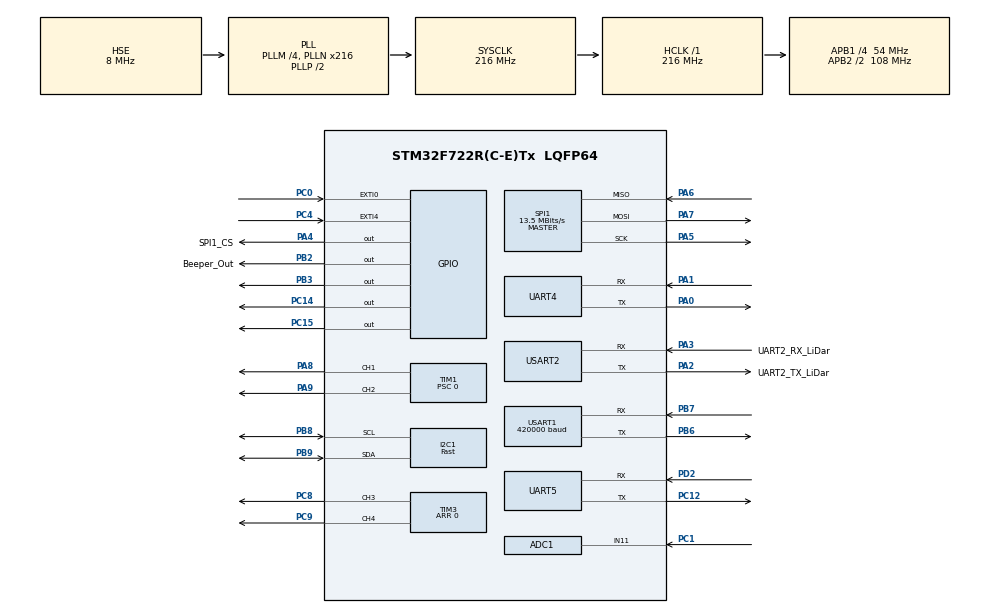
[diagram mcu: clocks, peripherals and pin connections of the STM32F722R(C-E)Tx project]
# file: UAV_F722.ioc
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ADC1.Channel-0\#ChannelRegularConversion=ADC_CHANNEL_11
ADC1.ContinuousConvMode=ENABLE
ADC1.EOCSelection=ADC_EOC_SEQ_CONV
ADC1.NbrOfConversion=1
ADC1.NbrOfConversionFlag=1
ADC1.Rank-0\#ChannelRegularConversion=1
ADC1.SamplingTime-0\#ChannelRegularConversion=ADC_SAMPLETIME_56CYCLES
ADC1.master=1
CORTEX_M7.default_mode_Activation=1
Dma.Request0=USART1_RX
Dma.Request1=TIM1_CH1
Dma.Request2=TIM1_CH2
Dma.Request3=TIM3_CH3
Dma.Request4=TIM3_CH4/UP
Dma.Request5=UART5_RX
Dma.Request6=USART2_RX
Dma.Request7=USART2_TX
Dma.TIM1_CH1.1.Direction=DMA_MEMORY_TO_PERIPH
Dma.TIM1_CH1.1.FIFOMode=DMA_FIFOMODE_ENABLE
Dma.TIM1_CH1.1.FIFOThreshold=DMA_FIFO_THRESHOLD_1QUARTERFULL
Dma.TIM1_CH1.1.Instance=DMA2_Stream1
Dma.TIM1_CH1.1.MemBurst=DMA_MBURST_SINGLE
Dma.TIM1_CH1.1.MemDataAlignment=DMA_MDATAALIGN_WORD
Dma.TIM1_CH1.1.MemInc=DMA_MINC_ENABLE
Dma.TIM1_CH1.1.Mode=DMA_NORMAL
Dma.TIM1_CH1.1.PeriphBurst=DMA_PBURST_SINGLE
Dma.TIM1_CH1.1.PeriphDataAlignment=DMA_PDATAALIGN_WORD
Dma.TIM1_CH1.1.PeriphInc=DMA_PINC_DISABLE
Dma.TIM1_CH1.1.Priority=DMA_PRIORITY_VERY_HIGH
Dma.TIM1_CH2.2.Direction=DMA_MEMORY_TO_PERIPH
Dma.TIM1_CH2.2.FIFOMode=DMA_FIFOMODE_ENABLE
Dma.TIM1_CH2.2.FIFOThreshold=DMA_FIFO_THRESHOLD_1QUARTERFULL
Dma.TIM1_CH2.2.Instance=DMA2_Stream2
Dma.TIM1_CH2.2.MemBurst=DMA_MBURST_SINGLE
Dma.TIM1_CH2.2.MemDataAlignment=DMA_MDATAALIGN_WORD
Dma.TIM1_CH2.2.MemInc=DMA_MINC_ENABLE
Dma.TIM1_CH2.2.Mode=DMA_NORMAL
Dma.TIM1_CH2.2.PeriphBurst=DMA_PBURST_SINGLE
Dma.TIM1_CH2.2.PeriphDataAlignment=DMA_PDATAALIGN_WORD
Dma.TIM1_CH2.2.PeriphInc=DMA_PINC_DISABLE
Dma.TIM1_CH2.2.Priority=DMA_PRIORITY_VERY_HIGH
Dma.TIM3_CH3.3.Direction=DMA_MEMORY_TO_PERIPH
Dma.TIM3_CH3.3.FIFOMode=DMA_FIFOMODE_ENABLE
Dma.TIM3_CH3.3.FIFOThreshold=DMA_FIFO_THRESHOLD_1QUARTERFULL
Dma.TIM3_CH3.3.Instance=DMA1_Stream7
Dma.TIM3_CH3.3.MemBurst=DMA_MBURST_SINGLE
Dma.TIM3_CH3.3.MemDataAlignment=DMA_MDATAALIGN_WORD
Dma.TIM3_CH3.3.MemInc=DMA_MINC_ENABLE
Dma.TIM3_CH3.3.Mode=DMA_NORMAL
Dma.TIM3_CH3.3.PeriphBurst=DMA_PBURST_SINGLE
Dma.TIM3_CH3.3.PeriphDataAlignment=DMA_PDATAALIGN_WORD
Dma.TIM3_CH3.3.PeriphInc=DMA_PINC_DISABLE
Dma.TIM3_CH3.3.Priority=DMA_PRIORITY_VERY_HIGH
Dma.TIM3_CH4/UP.4.Direction=DMA_MEMORY_TO_PERIPH
Dma.TIM3_CH4/UP.4.FIFOMode=DMA_FIFOMODE_ENABLE
Dma.TIM3_CH4/UP.4.FIFOThreshold=DMA_FIFO_THRESHOLD_1QUARTERFULL
Dma.TIM3_CH4/UP.4.Instance=DMA1_Stream2
Dma.TIM3_CH4/UP.4.MemBurst=DMA_MBURST_SINGLE
Dma.TIM3_CH4/UP.4.MemDataAlignment=DMA_MDATAALIGN_WORD
Dma.TIM3_CH4/UP.4.MemInc=DMA_MINC_ENABLE
Dma.TIM3_CH4/UP.4.Mode=DMA_NORMAL
Dma.TIM3_CH4/UP.4.PeriphBurst=DMA_PBURST_SINGLE
Dma.TIM3_CH4/UP.4.PeriphDataAlignment=DMA_PDATAALIGN_WORD
Dma.TIM3_CH4/UP.4.PeriphInc=DMA_PINC_DISABLE
Dma.TIM3_CH4/UP.4.Priority=DMA_PRIORITY_VERY_HIGH
Dma.UART5_RX.5.Direction=DMA_PERIPH_TO_MEMORY
Dma.UART5_RX.5.FIFOMode=DMA_FIFOMODE_DISABLE
Dma.UART5_RX.5.Instance=DMA1_Stream0
Dma.UART5_RX.5.MemDataAlignment=DMA_MDATAALIGN_BYTE
Dma.UART5_RX.5.MemInc=DMA_MINC_ENABLE
Dma.UART5_RX.5.Mode=DMA_NORMAL
Dma.UART5_RX.5.PeriphDataAlignment=DMA_PDATAALIGN_BYTE
Dma.UART5_RX.5.PeriphInc=DMA_PINC_DISABLE
Dma.UART5_RX.5.Priority=DMA_PRIORITY_MEDIUM
Dma.USART1_RX.0.Direction=DMA_PERIPH_TO_MEMORY
Dma.USART1_RX.0.FIFOMode=DMA_FIFOMODE_DISABLE
Dma.USART1_RX.0.Instance=DMA2_Stream5
Dma.USART1_RX.0.MemDataAlignment=DMA_MDATAALIGN_BYTE
Dma.USART1_RX.0.MemInc=DMA_MINC_ENABLE
Dma.USART1_RX.0.Mode=DMA_NORMAL
Dma.USART1_RX.0.PeriphDataAlignment=DMA_PDATAALIGN_BYTE
Dma.USART1_RX.0.PeriphInc=DMA_PINC_DISABLE
Dma.USART1_RX.0.Priority=DMA_PRIORITY_VERY_HIGH
Dma.USART2_RX.6.Direction=DMA_PERIPH_TO_MEMORY
Dma.USART2_RX.6.FIFOMode=DMA_FIFOMODE_DISABLE
Dma.USART2_RX.6.Instance=DMA1_Stream5
Dma.USART2_RX.6.MemDataAlignment=DMA_MDATAALIGN_BYTE
Dma.USART2_RX.6.MemInc=DMA_MINC_ENABLE
Dma.USART2_RX.6.Mode=DMA_NORMAL
Dma.USART2_RX.6.PeriphDataAlignment=DMA_PDATAALIGN_BYTE
Dma.USART2_RX.6.PeriphInc=DMA_PINC_DISABLE
Dma.USART2_RX.6.Priority=DMA_PRIORITY_HIGH
Dma.USART2_TX.7.Direction=DMA_MEMORY_TO_PERIPH
Dma.USART2_TX.7.FIFOMode=DMA_FIFOMODE_DISABLE
Dma.USART2_TX.7.Instance=DMA1_Stream6
Dma.USART2_TX.7.MemDataAlignment=DMA_MDATAALIGN_BYTE
Dma.USART2_TX.7.MemInc=DMA_MINC_ENABLE
Dma.USART2_TX.7.Mode=DMA_NORMAL
Dma.USART2_TX.7.PeriphDataAlignment=DMA_PDATAALIGN_BYTE
Dma.USART2_TX.7.PeriphInc=DMA_PINC_DISABLE
Dma.USART2_TX.7.Priority=DMA_PRIORITY_HIGH
I2C1.I2C_Speed_Mode=I2C_Fast
I2C1.NoStretchMode=I2C_NOSTRETCH_DISABLE
I2C1.Speed=400
I2C1.Timing=0x6000030D
Mcu.Family=STM32F7
Mcu.Name=STM32F722R(C-E)Tx
Mcu.Package=LQFP64
NVIC.ADC_IRQn=true\:3\:0\:true\:false\:true\:true\:true\:true
NVIC.DMA1_Stream0_IRQn=true\:0\:0\:false\:false\:true\:false\:true\:true
NVIC.DMA1_Stream2_IRQn=true\:1\:0\:true\:false\:true\:false\:true\:true
NVIC.DMA1_Stream5_IRQn=true\:2\:0\:true\:false\:true\:false\:true\:true
NVIC.DMA1_Stream6_IRQn=true\:2\:0\:true\:false\:true\:false\:true\:true
NVIC.DMA1_Stream7_IRQn=true\:1\:0\:true\:false\:true\:false\:true\:true
NVIC.DMA2_Stream1_IRQn=true\:1\:0\:true\:false\:true\:false\:true\:true
NVIC.DMA2_Stream2_IRQn=true\:1\:0\:true\:false\:true\:false\:true\:true
NVIC.DMA2_Stream5_IRQn=true\:0\:0\:true\:false\:true\:false\:true\:true
NVIC.EXTI0_IRQn=true\:2\:0\:true\:false\:true\:true\:true\:true
NVIC.EXTI4_IRQn=true\:2\:0\:true\:false\:true\:true\:true\:true
NVIC.PriorityGroup=NVIC_PRIORITYGROUP_4
NVIC.TIM7_IRQn=true\:3\:0\:true\:false\:true\:true\:true\:true
NVIC.UART4_IRQn=true\:3\:0\:true\:false\:true\:true\:true\:true
NVIC.UART5_IRQn=true\:2\:0\:true\:false\:true\:true\:true\:true
NVIC.USART1_IRQn=true\:0\:0\:true\:false\:true\:true\:true\:true
NVIC.USART2_IRQn=true\:2\:0\:true\:false\:true\:true\:true\:true
PA0-WKUP.Mode=Asynchronous
PA0-WKUP.Signal=UART4_TX
PA1.Mode=Asynchronous
PA1.Signal=UART4_RX
PA2.GPIO_Label=UART2_TX_LiDar
PA2.Mode=Asynchronous
PA2.Signal=USART2_TX
PA3.GPIO_Label=UART2_RX_LiDar
PA3.Mode=Asynchronous
PA3.Signal=USART2_RX
PA4.GPIO_Label=SPI1_CS
PA4.GPIO_Speed=GPIO_SPEED_FREQ_VERY_HIGH
PA4.PinState=GPIO_PIN_SET
PA4.Signal=GPIO_Output
PA5.Mode=Full_Duplex_Master
PA5.Signal=SPI1_SCK
PA6.Mode=Full_Duplex_Master
PA6.Signal=SPI1_MISO
PA7.Mode=Full_Duplex_Master
PA7.Signal=SPI1_MOSI
PA8.Signal=S_TIM1_CH1
PA9.Signal=S_TIM1_CH2
PB2.GPIO_Label=Beeper_Out
PB2.Signal=GPIO_Output
PB3.Signal=GPIO_Output
PB6.Mode=Asynchronous
PB6.Signal=USART1_TX
PB7.Mode=Asynchronous
PB7.Signal=USART1_RX
PB8.Mode=I2C
PB8.Signal=I2C1_SCL
PB9.Mode=I2C
PB9.Signal=I2C1_SDA
PC0.GPIO_ModeDefaultEXTI=GPIO_MODE_IT_FALLING
PC0.Signal=GPXTI0
PC1.Signal=ADCx_IN11
PC12.Mode=Asynchronous
PC12.Signal=UART5_TX
PC14-OSC32_IN.PinState=GPIO_PIN_SET
PC14-OSC32_IN.Signal=GPIO_Output
PC15-OSC32_OUT.PinState=GPIO_PIN_SET
PC15-OSC32_OUT.Signal=GPIO_Output
PC4.GPIO_ModeDefaultEXTI=GPIO_MODE_IT_FALLING
PC4.Signal=GPXTI4
PC8.Signal=S_TIM3_CH3
PC9.Signal=S_TIM3_CH4
PD2.Mode=Asynchronous
PD2.Signal=UART5_RX
PH0-OSC_IN.Mode=HSE-External-Oscillator
PH0-OSC_IN.Signal=RCC_OSC_IN
PH1-OSC_OUT.Mode=HSE-External-Oscillator
PH1-OSC_OUT.Signal=RCC_OSC_OUT
ProjectManager.HeapSize=0x200
ProjectManager.StackSize=0x400
ProjectManager.TargetToolchain=STM32CubeIDE
RCC.AHBFreq_Value=216000000
RCC.APB1CLKDivider=RCC_HCLK_DIV4
RCC.APB1Freq_Value=54000000
RCC.APB1TimFreq_Value=108000000
RCC.APB2CLKDivider=RCC_HCLK_DIV2
RCC.APB2Freq_Value=108000000
RCC.APB2TimFreq_Value=216000000
RCC.CortexFreq_Value=216000000
RCC.HCLKFreq_Value=216000000
RCC.HSE_VALUE=8000000
RCC.HSI_VALUE=16000000
RCC.LSE_VALUE=32768
RCC.PLLM=4
RCC.PLLN=216
RCC.PLLQ=9
RCC.PLLSAIN=96
RCC.PLLSAIP=RCC_PLLSAIP_DIV4
RCC.PLLSourceVirtual=RCC_PLLSOURCE_HSE
RCC.SYSCLKFreq_VALUE=216000000
RCC.SYSCLKSource=RCC_SYSCLKSOURCE_PLLCLK
RCC.USBFreq_Value=48000000
RCC.VCOOutputFreq_Value=432000000
SH.ADCx_IN11.0=ADC1_IN11,IN11
SH.S_TIM1_CH1.0=TIM1_CH1,PWM Generation1 CH1
SH.S_TIM1_CH2.0=TIM1_CH2,PWM Generation2 CH2
SH.S_TIM3_CH3.0=TIM3_CH3,PWM Generation3 CH3
SH.S_TIM3_CH4.0=TIM3_CH4,PWM Generation4 CH4
SPI1.BaudRatePrescaler=SPI_BAUDRATEPRESCALER_8
SPI1.CLKPhase=SPI_PHASE_1EDGE
SPI1.CLKPolarity=SPI_POLARITY_LOW
SPI1.CalculateBaudRate=13.5 MBits/s
SPI1.DataSize=SPI_DATASIZE_8BIT
SPI1.Direction=SPI_DIRECTION_2LINES
SPI1.FirstBit=SPI_FIRSTBIT_MSB
SPI1.Mode=SPI_MODE_MASTER
SPI1.NSSPMode=SPI_NSS_PULSE_ENABLE
SPI1.VirtualType=VM_MASTER
TIM1.Channel-PWM\ Generation1\ CH1=TIM_CHANNEL_1
TIM1.Channel-PWM\ Generation2\ CH2=TIM_CHANNEL_2
TIM1.Period=0
TIM1.Prescaler=0
TIM3.Channel-PWM\ Generation3\ CH3=TIM_CHANNEL_3
TIM3.Channel-PWM\ Generation4\ CH4=TIM_CHANNEL_4
TIM3.Period=0
TIM6.Prescaler=108-1
TIM7.Period=125-1
TIM7.Prescaler=108-1
TIM7.TIM_MasterOutputTrigger=TIM_TRGO_ENABLE
USART1.BaudRate=420000
USART1.VirtualMode-Asynchronous=VM_ASYNC
USART2.VirtualMode-Asynchronous=VM_ASYNC
VP_TIM6_VS_ClockSourceINT.Mode=Enable_Timer
VP_TIM7_VS_ClockSourceINT.Mode=Enable_Timer
board=custom

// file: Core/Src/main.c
/* USER CODE BEGIN Header */
/**
  ******************************************************************************
  * @file           : main.c
  * @brief          : Main program body
  ******************************************************************************
  * @attention
  *
  * Copyright (c) 2024 STMicroelectronics.
  * All rights reserved.
  *
  * This software is licensed under terms that can be found in the LICENSE file
  * in the root directory of this software component.
  * If no LICENSE file comes with this software, it is provided AS-IS.
  *
  ******************************************************************************
  */

/* USER CODE END Header */
#include "main.h"
#include "adc.h"
#include "dma.h"
#include "i2c.h"
#include "spi.h"
#include "tim.h"
#include "usart.h"
#include "gpio.h"

/* USER CODE BEGIN Includes */
#include "flight/Flight_System.h"
#include "ICM42688P.h"
#include "sensors/SensorsCalibration.h"
#include "stdbool.h"
#include "string.h"
#include "PID.h"
#include "sensors/BMP280.h"
#include "flight/defines.h"
#include "sensors/adc.h"
#include "flight/ResourceDefine.h"
#include "flash/Flash_Sector_F4.h"
#include "sensors/opFlow.h"

#include "flight/init.h"
//#include "usbd_cdc_if.h"
/* USER CODE END Includes */

/* USER CODE BEGIN PV */
//System
enum System_Mode System;

//IMU
ICM42688_AccData_t ACC;
ICM42688_GyroData_t Gyro;
int Cali_count=1; //IMU Clibration
bool imuCalibration = false;

bool New_IMU_DATA = 0; //flag for IMU data handling
uint8_t IMU_SPI_Buffer[12];

//Barometer
Baro_HandleTypedef BMP280;

//PID

/*Angle Mode*/
PID_Variables Pitch_Angle_PID;
PID_Variables Pitch_Rate_PID;
PID_Variables Roll_Angle_PID;
PID_Variables Roll_Rate_PID;
PID_Variables Yaw_PID;

/*Alititude Mode*/
Altitude_Data_t ALT;
PID_Variables Altitude_PID;
PID_Variables AltVelo_PID;

//PID output definition
float Pitch_CMD = 0;
float Roll_CMD = 0;
float Yaw_CMD = 0;
float Alt_Throttle = 0;

//Motor Control Variables
uint16_t motor_cmd[4]={0,0,0,0};
uint16_t Throttle;
float Pitch_Setpoint;
float Roll_Setpoint;
float Yaw_Angle_Setpoint;
float Yaw_Rate_Setpoint;
float altVelo_Setpoint;

float altCommand = 0;

/* USER CODE END PV */

void SystemClock_Config(void);
static void MPU_Config(void);
/* USER CODE BEGIN PFP */
void PROCCESS_PID(void);

float ct =0 ;
float pt = 0;
float dt = 0;

/* Use RxEventCallBack so there is idle detection feature */
void HAL_UARTEx_RxEventCallback(UART_HandleTypeDef *huart, uint16_t Size)
{
	//Receiver RX
    if (huart->Instance == USART1)
    {
    	ct = TIM6_GetTick();
    	dt = ct-pt;
    	pt=ct;

    	processRX();

	    /* Clear Interrupt Flag */
	    __HAL_UART_CLEAR_FLAG(&huart1, UART_FLAG_TC);

	    /* start the DMA again */
		HAL_UARTEx_ReceiveToIdle_DMA(&huart1, rx.rxChannel.uartWorkingBuffer, sizeof(rx.rxChannel.uartWorkingBuffer));
		Disable_Uart1_Half_Callback();
    }

    //Flow RX
    if(huart->Instance == USART2)
    {
    	opFlow_Data_Process();
    	__HAL_UART_CLEAR_FLAG(&huart2, UART_FLAG_TC);
    }

    //LiDar RX
    if(huart->Instance == UART4)
    {
    	RF_DataProcess();
    	HAL_UARTEx_ReceiveToIdle_DMA(&RangeFinderBusType, RangeFinder.LiDar.tfminiUartBuffer, sizeof(RangeFinder.LiDar.tfminiUartBuffer));
    	__HAL_UART_CLEAR_FLAG(&RangeFinderBusType, UART_FLAG_TC);
    }

    //GPS RX
    if (huart->Instance == UART5)
    {
    	GNSS_ParseBuffer(&gps);

	    /* Clear Interrupt Flag */
	    __HAL_UART_CLEAR_FLAG(&huart5, UART_FLAG_TC);

	    /* start the DMA again */
		HAL_UARTEx_ReceiveToIdle_DMA(&huart5, gps.uartWorkingBuffer, 100);
	    Disable_Uart5_Half_Callback();

    }
}

/* Uart1 Error Handler */
void HAL_UART_ErrorCallback(UART_HandleTypeDef *huart)
{
    if (huart->Instance == USART1)
    {
        // Handle the error condition
        __HAL_UART_CLEAR_FLAG(&huart1, UART_FLAG_ORE | UART_FLAG_NE | UART_FLAG_FE); //clear error flag
		HAL_UARTEx_ReceiveToIdle_DMA(&huart1, rx.rxChannel.uartWorkingBuffer, sizeof(rx.rxChannel.uartWorkingBuffer));
    }
    if (huart->Instance == USART2)
    {
        __HAL_UART_CLEAR_FLAG(&huart2, UART_FLAG_ORE | UART_FLAG_NE | UART_FLAG_FE); //clear error flag
    	HAL_UARTEx_ReceiveToIdle_DMA(opFlow.mtf02.huart, opFlow.mtf02.MTF_UartWorkingBuffer, sizeof(opFlow.mtf02.MTF_UartWorkingBuffer));
    }
    if (huart->Instance == UART4)
    {
        __HAL_UART_CLEAR_FLAG(&huart4, UART_FLAG_ORE | UART_FLAG_NE | UART_FLAG_FE); //clear error flag
    	HAL_UARTEx_ReceiveToIdle_DMA(&RangeFinderBusType, RangeFinder.LiDar.tfminiUartBuffer, sizeof(RangeFinder.LiDar.tfminiUartBuffer));
    }

    if (huart->Instance == UART5)
    {
        // Handle the error condition
        __HAL_UART_CLEAR_FLAG(&huart5, UART_FLAG_ORE | UART_FLAG_NE | UART_FLAG_FE); //clear error flag
    	HAL_UARTEx_ReceiveToIdle_DMA(&huart5, gps.uartWorkingBuffer, 100);
    }
}

Batt_Type batt;

// Callback function for ADC
void HAL_ADC_ConvCpltCallback(ADC_HandleTypeDef *hadc)
{
  if (hadc->Instance == ADC1)
  {
    uint32_t adc_value = HAL_ADC_GetValue(hadc);
    // Do something with adc_value
    batt = GetBatteryType(getBatteryVoltage(adc_value));

  }
}

//Timer Interrupt
void HAL_TIM_PeriodElapsedCallback(TIM_HandleTypeDef *htim)
{

	//double check with timer 7
	if(htim->Instance == TIM7) //Currently this timer interrupt runs at 8kHz
	{

	}
}

/* Callback function for GPIO EXTI */
void HAL_GPIO_EXTI_Callback(uint16_t GPIO_Pin)
{
    if (GPIO_Pin == imuDataReadyPin)
    {
    	//default disarmed
    	sysHealth.ARMED = false;
    	//check calibration and system mode
    	if((imuCalibration == false)&&(MagisCalibrating == false))
    	{
    		sysHealth.ARMED = ArmingHandle (rx.rxChannel.mapped_Channel); //arming flag
			System = System_Mode_Handle(rx.rxChannel.mapped_Channel);
			/*-------System Algorithm-------*/
			switch(System)
			{
			case AngleMode:
				// Read IMU data
				ICM42688_ReadAccelGyroData(&ACC,&Gyro);
				Accel_Angle_Convert(&ACC);
				Gyro_Angle_Convert(&Gyro);
				imuAttitude(Gyro.dt, Gyro.PT2_X, Gyro.PT2_Y, Gyro.PT2_Z, ACC.x, ACC.y, ACC.z, ACC.Magnitude,sysHealth.ARMED);
				ICM42688_GetVelocity(&ACC);
				Altitude_Rate_Data_Fusion(&ALT, &ACC, &BMP280, Process_BMP280(&BMP280),sysHealth.ARMED);

				static int prescale;
				prescale++;
				if(prescale >=200)
				{
					prescale = 0;
					GNSS_GetPVTData(&gps);
				}

				PROCCESS_PID();
				dshot_write(motor_cmd);

				break;
			case ALTMode:
				// Read IMU data
				ICM42688_ReadAccelGyroData(&ACC,&Gyro);
				Accel_Angle_Convert(&ACC);
				Gyro_Angle_Convert(&Gyro);
				imuAttitude(Gyro.dt, Gyro.PT2_X, Gyro.PT2_Y, Gyro.PT2_Z, ACC.x, ACC.y, ACC.z, ACC.Magnitude, ArmingHandle (rx.rxChannel.mapped_Channel));

				//Get Z Velocity From IMU and Barometer
				ICM42688_GetVelocity(&ACC);
				//Process_BMP280(&BMP280);

				//Z Velocity Data Fusion
				Altitude_Rate_Data_Fusion(&ALT, &ACC, &BMP280, Process_BMP280(&BMP280),sysHealth.ARMED);

				PROCCESS_PID();
				dshot_write(motor_cmd);
				break;
			case POSHold:
				ICM42688_ReadAccelGyroData(&ACC,&Gyro);
				Gyro_Angle_Convert(&Gyro);
				PROCCESS_PID();
				dshot_write(motor_cmd);
				break;

			case magCalibrate:
				MagisCalibrating = true;
				//reset all mag trim
				mag.Xtrim = 0;
				mag.Ytrim = 0;
				mag.Ztrim = 0;
				break;
				}
    	}

    	/*if in calibration mode*/
    	else if(imuCalibration == true)
    	{
			__disable_irq();

			ICM42688_ReadAccData(&ACC);
			ICM42688_ReadGyroData(&Gyro);

			accCalibration(&ACC, Cali_count);
			gyroCalibration(&Gyro, Cali_count);

			Cali_count++;

			if(Cali_count> CALIBRATING_GYRO_CYCLES)
			{
				HAL_GPIO_WritePin(imuLEDport, imuLEDpin, GPIO_PIN_SET);

				imuCalibration = false;
				Cali_count = 1;
			}
			ALT.Vz = 0;
			__enable_irq();
    	}

    	/*if in mag calibration mode*/
    	if((MagisCalibrating == true) && (imuCalibration != true)) //if both true, then prioritize imu
    	{
    		QMC_read(&mag);
    		magCalibration(&mag.magADC);
    	}
    }

    if(GPIO_Pin == GP_ButtonPin)
    {
    	__disable_irq();
    	HAL_GPIO_WritePin(imuLEDport, imuLEDpin, GPIO_PIN_RESET);

    	imuCalibration = true;
    	Cali_count=1;
    	__enable_irq();
    }
}

void PROCCESS_PID(void)
{
	if(sysHealth.ARMED && isBaroReady())
	{

		/*General Purpose Calculation*/
		if((System == AngleMode) || (System == ALTMode))
		{
			//Setpoint Assigning
			Pitch_Setpoint = -1*(Calculate_Setpoint(rx.rxChannel.mapped_Channel[2], Max_Angle));
			Roll_Setpoint = Calculate_Setpoint(rx.rxChannel.mapped_Channel[3], Max_Angle);

			Yaw_Rate_Setpoint = -1* Calculate_Setpoint(rx.rxChannel.mapped_Channel[1], Max_Yaw_Rate); //yaw is direct rate control

			//PID Calculation
			Pitch_CMD = Cascade_PID(&Pitch_Angle_PID, &Pitch_Rate_PID,Pitch_Setpoint, attitude.values.roll/10.0f, Gyro.PT2_X, 1.0f/PID_Freq, pitch);//RatePitch is not avaliable so I use AnglePitch to Debug
			Roll_CMD = Cascade_PID(&Roll_Angle_PID, &Roll_Rate_PID,Roll_Setpoint, attitude.values.pitch/10.0f, Gyro.PT2_Y, 1.0f/PID_Freq, roll);

			//manage yaw heading setpoint differently
			if(Yaw_Rate_Setpoint == 0)
			{
				float yawRateCMD = 0;
				float angleDifference = Yaw_Angle_Setpoint - attitude.values.yaw/10.0f;
				angleDifference = mod(angleDifference + 180, 360) - 180;
				yawRateCMD = (-1*angleDifference) * P_angleZ; //pre-calculate the angle setpoint

				Yaw_CMD = PID_Equation(&Yaw_PID, yawRateCMD, Gyro.PT2_Z, 1.0f/PID_Freq, yaw);
			}
			else
			{
				Yaw_Angle_Setpoint = attitude.values.yaw/10.0f;
				Yaw_CMD = PID_Equation(&Yaw_PID, Yaw_Rate_Setpoint, Gyro.PT2_Z, 1.0f/PID_Freq, yaw);//Yaw PID should input Yaw angular velocity
			}

		}

		/*Specific Mode Calculation*/
		switch(System)
		{
			case AngleMode:
				//Throttle Assignment
				Throttle =((rx.rxChannel.mapped_Channel[0]-988)*1.999) + 200; //+100 for 5%idle

				if(rx.rxChannel.mapped_Channel[0]<990)
				{
					Roll_Rate_PID.Integral = 0;
					Pitch_Rate_PID.Integral = 0;
				}
				motor_cmd[3]= Throttle - Pitch_CMD + Roll_CMD - Yaw_CMD ;//M4
				motor_cmd[2]= Throttle + Pitch_CMD + Roll_CMD + Yaw_CMD ;//M3
				motor_cmd[1]= Throttle - Pitch_CMD - Roll_CMD + Yaw_CMD ;//M2
				motor_cmd[0]= Throttle + Pitch_CMD - Roll_CMD - Yaw_CMD ;//M1
				break;

			case ALTMode:
				//setpoint Calculation
				int sign = 0;
				sign = (rx.rxChannel.mapped_Channel[4] <= 1000) ? 1 : -1;

				altVelo_Setpoint = sign * (300.0f/1023.0f)*(rx.rxChannel.mapped_Channel[0]-989);

				if(((attitude.values.pitch /10.0f) <= Max_Angle) && ((attitude.values.roll/10.0f) <= Max_Angle))
				{
					Alt_Throttle = PID_Equation(&AltVelo_PID, altVelo_Setpoint, ALT.Vz, 1.0f/PID_Freq, alt);
				}

				altCommand = altitudeControl();

				motor_cmd[3]= Alt_Throttle - Pitch_CMD + Roll_CMD - Yaw_CMD + altCommand;//M4
				motor_cmd[2]= Alt_Throttle + Pitch_CMD + Roll_CMD + Yaw_CMD + altCommand;//M3
				motor_cmd[1]= Alt_Throttle - Pitch_CMD - Roll_CMD + Yaw_CMD + altCommand;//M2
				motor_cmd[0]= Alt_Throttle + Pitch_CMD - Roll_CMD - Yaw_CMD + altCommand;//M1

				break;

			case POSHold:

				break;
		}

	//			//PID Calculation
	//			Pitch_CMD = Cascade_PID(&Pitch_Angle_PID, &Pitch_Rate_PID,Pitch_Setpoint, AnglePitch, AnglePitch, 500);//RatePitch is not avaliable so I use AnglePitch to Debug
	//			Roll_CMD = Cascade_PID(&Roll_Angle_PID, &Roll_Rate_PID,Roll_Setpoint, AngleRoll, AngleRoll, 500);
	//			Yaw_CMD = PID_Equation(&Yaw_PID, Yaw_Setpoint, AngleRoll, 500);//Yaw PID should input Yaw angular velocity

	//		 M4			  M2			y+
	//		    .       .				|
	//            .   . 				|
	//			  .   . 				|
	//			.       .				|
	//		 M3 		  M1			|-----------x+

	//			//Assign new motor value

		dshot_check_threshold(motor_cmd, ArmingHandle (rx.rxChannel.mapped_Channel));
	}
	else
	{
		//Reset All Throttle Value
		Throttle = 0;
		Alt_Throttle = 0;

		//Reset Motor Command
		memset(motor_cmd,0,sizeof(motor_cmd));

		//Reset All Integral Term
		Roll_Angle_PID.Integral = 0;
		Pitch_Angle_PID.Integral = 0;
		Roll_Rate_PID.Integral = 0;
		Pitch_Rate_PID.Integral = 0;
		AltVelo_PID.Integral = 0;

		//reset heading setpoint
		Yaw_Angle_Setpoint = attitude.values.yaw;

	}
}
/* USER CODE END PFP */

int main(void)
{

  /* MPU Configuration--------------------------------------------------------*/
  MPU_Config();

  /* MCU Configuration--------------------------------------------------------*/

  /* Reset of all peripherals, Initializes the Flash interface and the Systick. */
  HAL_Init();

  /* Configure the system clock */
  SystemClock_Config();

  /* USER CODE BEGIN SysInit */
  __disable_irq(); // Disable global interrupts for proper init

  /* USER CODE END SysInit */

  /* Initialize all configured peripherals */
  MX_GPIO_Init();
  MX_DMA_Init();
  MX_USART1_UART_Init();
  MX_TIM6_Init();
  MX_SPI1_Init();
  MX_TIM1_Init();
  MX_TIM3_Init();
  MX_I2C1_Init();
  MX_TIM7_Init();
  MX_UART5_Init();
  MX_ADC1_Init();
  MX_USART2_UART_Init();
  MX_UART4_Init();
  /* USER CODE BEGIN 2 */

  	  //Reset All System Health Falge
  sysHealth.ARMED = false;
  sysHealth.RangeFinderHealthy = false;
  sysHealth.rxHealthy = false;
  sysHealth.baroHealthy = false;
  sysHealth.gpsHealthy = false;
  sysHealth.imuHealty = false;
  sysHealth.magHealthy = false;
  sysHealth.opFlowHealthy = false;

  init();

  HAL_GPIO_WritePin(beeperPort, beeperPin, GPIO_PIN_RESET);
  HAL_GPIO_WritePin(beeperPort, beeperPin, GPIO_PIN_SET);
  Delay_ms(1000);
  HAL_GPIO_WritePin(beeperPort, beeperPin, GPIO_PIN_RESET);

  	  //Barometer
  sysHealth.baroHealthy = (BMP280_Init(&BMP280, &BMP280.params, &baroBuyType)==true);

	  //LiDar
  //TFmini_Plus_init(&RangeFinder.LiDar, &RangeFinderBusType, 1000,115200);
	//HAL_UARTEx_ReceiveToIdle_DMA(&mtf02.huart, mtf02.MTF_UartWorkingBuffer, sizeof(mtf02.MTF_UartWorkingBuffer));

  	  //PID
  PID_Init(&Pitch_Angle_PID, P_angleX, I_angleX, D_angleX,0, -100, 100);	//Pitch Angle
  PID_Init(&Pitch_Rate_PID, P_rateX, I_rateX, D_rateX, Dmax_rateX, -500, 500);		//Pitch Rate

  PID_Init(&Roll_Angle_PID, P_angleY, I_angleY, D_angleY,0, -100, 100);	//Roll Angle
  PID_Init(&Roll_Rate_PID, P_rateY, I_rateY, D_rateY, Dmax_rateY, -500, 500);		//Roll Rate

  PID_Init(&Yaw_PID, P_rateZ, I_rateZ, D_rateZ,0,  -500, 500);				//Yaw Rate

  PID_Init(&Altitude_PID, P_Alt, I_Alt, D_Alt,0, -100, 100); 				//Altitude
  PID_Init(&AltVelo_PID, P_veloAlt, I_veloAlt, D_veloAlt,0, -500, 500);	//Altitude Velocity

  	  //Load Calibration Offset
  loadCalibrationOffsets(&ACC,&Gyro,&mag);

  	  //Attitude
  imu_init();

  HAL_TIM_Base_Start_IT(&htim7); //Start the timer

  	  //Vbatt ADC
  HAL_ADC_Start_IT(&BattADC);

  //System = AngleMode;
  __enable_irq(); // Enable global interrupts for proper USB Init

  /* USER CODE END 2 */

  /* Infinite loop */
  while (1)
  {

  }
}

void SystemClock_Config(void)
{
  RCC_OscInitTypeDef RCC_OscInitStruct = {0};
  RCC_ClkInitTypeDef RCC_ClkInitStruct = {0};

  /** Configure the main internal regulator output voltage
  */
  __HAL_RCC_PWR_CLK_ENABLE();
  __HAL_PWR_VOLTAGESCALING_CONFIG(PWR_REGULATOR_VOLTAGE_SCALE1);

  /** Initializes the RCC Oscillators according to the specified parameters
  * in the RCC_OscInitTypeDef structure.
  */
  RCC_OscInitStruct.OscillatorType = RCC_OSCILLATORTYPE_HSE;
  RCC_OscInitStruct.HSEState = RCC_HSE_ON;
  RCC_OscInitStruct.PLL.PLLState = RCC_PLL_ON;
  RCC_OscInitStruct.PLL.PLLSource = RCC_PLLSOURCE_HSE;
  RCC_OscInitStruct.PLL.PLLM = 4;
  RCC_OscInitStruct.PLL.PLLN = 216;
  RCC_OscInitStruct.PLL.PLLP = RCC_PLLP_DIV2;
  RCC_OscInitStruct.PLL.PLLQ = 9;
  if (HAL_RCC_OscConfig(&RCC_OscInitStruct) != HAL_OK)
  {
    Error_Handler();
  }

  /** Activate the Over-Drive mode
  */
  if (HAL_PWREx_EnableOverDrive() != HAL_OK)
  {
    Error_Handler();
  }

  /** Initializes the CPU, AHB and APB buses clocks
  */
  RCC_ClkInitStruct.ClockType = RCC_CLOCKTYPE_HCLK|RCC_CLOCKTYPE_SYSCLK
                              |RCC_CLOCKTYPE_PCLK1|RCC_CLOCKTYPE_PCLK2;
  RCC_ClkInitStruct.SYSCLKSource = RCC_SYSCLKSOURCE_PLLCLK;
  RCC_ClkInitStruct.AHBCLKDivider = RCC_SYSCLK_DIV1;
  RCC_ClkInitStruct.APB1CLKDivider = RCC_HCLK_DIV4;
  RCC_ClkInitStruct.APB2CLKDivider = RCC_HCLK_DIV2;

  if (HAL_RCC_ClockConfig(&RCC_ClkInitStruct, FLASH_LATENCY_7) != HAL_OK)
  {
    Error_Handler();
  }
}

 /* MPU Configuration */

void MPU_Config(void)
{
  MPU_Region_InitTypeDef MPU_InitStruct = {0};

  /* Disables the MPU */
  HAL_MPU_Disable();

  /** Initializes and configures the Region and the memory to be protected
  */
  MPU_InitStruct.Enable = MPU_REGION_ENABLE;
  MPU_InitStruct.Number = MPU_REGION_NUMBER0;
  MPU_InitStruct.BaseAddress = 0x0;
  MPU_InitStruct.Size = MPU_REGION_SIZE_4GB;
  MPU_InitStruct.SubRegionDisable = 0x87;
  MPU_InitStruct.TypeExtField = MPU_TEX_LEVEL0;
  MPU_InitStruct.AccessPermission = MPU_REGION_NO_ACCESS;
  MPU_InitStruct.DisableExec = MPU_INSTRUCTION_ACCESS_DISABLE;
  MPU_InitStruct.IsShareable = MPU_ACCESS_SHAREABLE;
  MPU_InitStruct.IsCacheable = MPU_ACCESS_NOT_CACHEABLE;
  MPU_InitStruct.IsBufferable = MPU_ACCESS_NOT_BUFFERABLE;

  HAL_MPU_ConfigRegion(&MPU_InitStruct);
  /* Enables the MPU */
  HAL_MPU_Enable(MPU_PRIVILEGED_DEFAULT);

}

void Error_Handler(void)
{
  __disable_irq();
  while (1)
  {
  }
}
